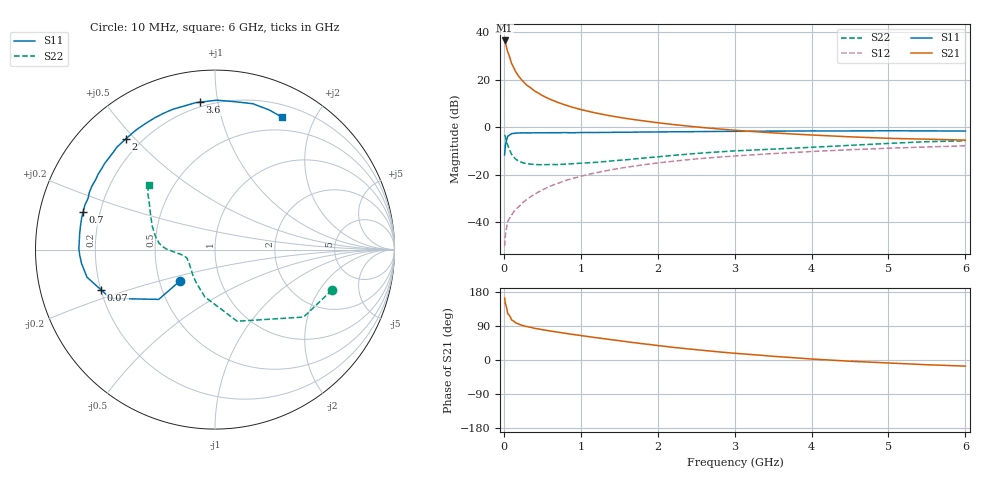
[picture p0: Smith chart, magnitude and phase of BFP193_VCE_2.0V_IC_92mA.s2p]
! (c) 2017  Infineon Technologies AG, Munich
! Infineon Technologies  Discrete & RF Semiconductors
! BFP193
! VCE =  2.0 V,  IC =  92 mA
! Common Emitter S-Parameters:  Jan 2017
# GHz  S  MA  R  50
!  f  S11  S21  S12  S22
! GHz  MAG  ANG  MAG  ANG  MAG  ANG  MAG  ANG
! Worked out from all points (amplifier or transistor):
!   77 points, 10 MHz to 6 GHz, reference 50 ohm
!   highest |S21| = 36.5 dB at 10 MHz (marker M1)
!   |S21| within 3 dB of that: start of sweep to 36.18 MHz
!   unconditionally stable (mu >= 1): 191.1 MHz to 3.438 GHz; 4.218 GHz to 4.861 GHz; 5.156 GHz to end of sweep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
!   at 130 MHz: K = 0.86, MSG = 30.3 dB, |S12| = -35.7 dB
!   at 2.2 GHz: K = 1.05, MAG = 6.4 dB, |S12| = -14.4 dB
!   at 6 GHz: K = 1.02, MAG = 0.4 dB, |S12| = -7.9 dB
!   S11 on the Smith chart (normalised r, x): 10 MHz: 0.64, -0.24; 70 MHz: 0.20, -0.17; 700 MHz: 0.14, +0.14; 2 GHz: 0.14, +0.47; 3.6 GHz: 0.17, +0.89; 6 GHz: 0.34, +1.58
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0.01  0.2604 -138.2  67.11 163.3  0.0031 76.3  0.6892 -19.1
0.02  0.4186 -138.5  60.63 148.9  0.0051 73.4  0.6205 -37.3
0.05  0.6417 -154.9  38.64 122.6  0.0101 54.8  0.4177 -72.8
0.07  0.6726 -160.5  31.71 118.0  0.0116 56.2  0.3483 -81.5
0.1  0.7294 -167.8  22 105.9  0.0139 57.8  0.2689 -102.3
0.15  0.7475 -174.0  15.05 98.7  0.0183 61.0  0.2132 -119.0
0.2  0.7541 -177.5  11.4 94.1  0.0214 66.2  0.1901 -130.1
0.25  0.7586 179.6  9.161 90.6  0.0261 66.7  0.1766 -137.6
0.3  0.7574 177.1  7.648 88.1  0.03 68.6  0.1695 -143.7
0.4  0.7593 173.3  5.775 83.6  0.0386 70.9  0.1632 -151.4
0.5  0.7611 169.9  4.626 80.0  0.0474 70.8  0.1613 -156.3
0.7  0.7641 164.1  3.327 73.6  0.0653 70.8  0.1628 -162.8
0.9  0.7627 158.1  2.6 67.5  0.0832 69.0  0.1694 -166.1
1.1  0.7718 152.6  2.153 61.8  0.1009 67.1  0.1775 -169.0
1.5  0.78 141.9  1.608 50.9  0.1353 62.1  0.2003 -173.5
2  0.7921 128.7  1.239 38.2  0.1761 55.2  0.2369 -177.5
2.1  0.7945 126.1  1.186 35.9  0.1833 53.8  0.2454 -178.5
3.1  0.8166 104.7  0.838 16.3  0.2524 40.0  0.3212 171.6
3.6  0.8257 95.8  0.741 8.4  0.2827 33.8  0.35 164.9
4.1  0.8313 87.8  0.671 1.5  0.3115 27.6  0.3828 157.1
5.1  0.8377 74.1  0.576 -8.8  0.3637 15.4  0.4616 143.0
6  0.8269 63.0  0.533 -16.2  0.4036 5.1  0.5141 135.5
